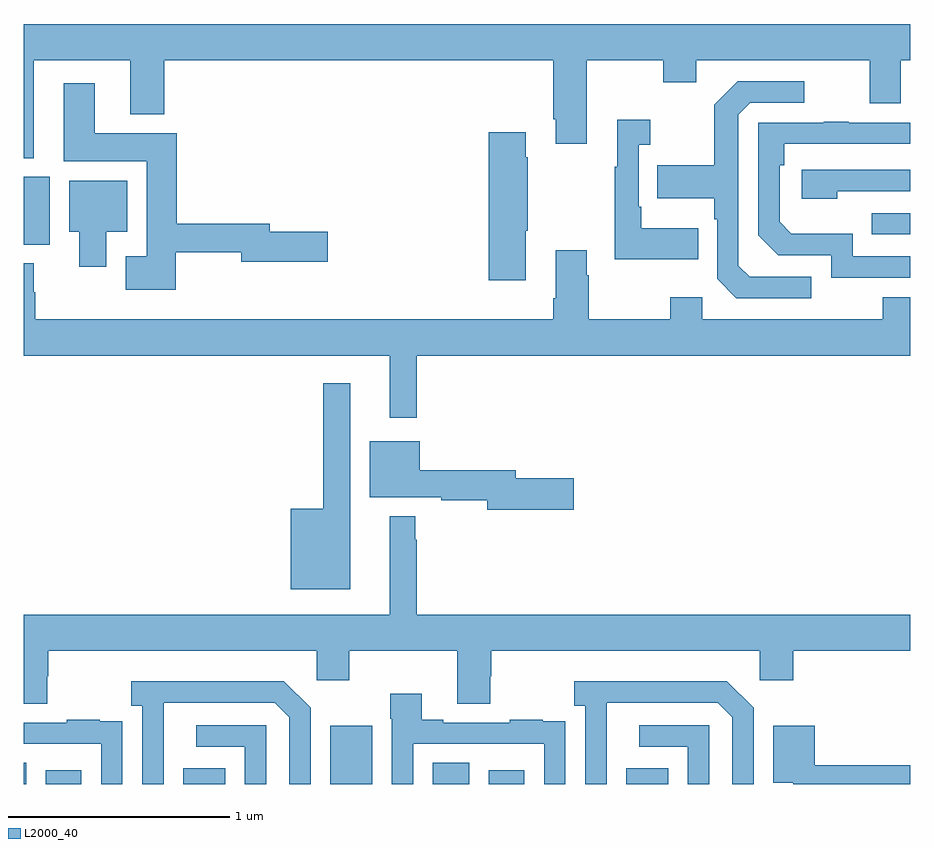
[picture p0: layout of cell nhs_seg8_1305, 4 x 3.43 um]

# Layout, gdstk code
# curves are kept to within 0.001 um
import gdstk
lib = gdstk.Library(unit=1e-6, precision=1e-09)
def R(c, l, rs):  # rectangles x0, y0, x1, y1
    for r in rs: c.add(gdstk.rectangle(r[:2], r[2:], *l))
def P(c, l, *ps):  # polygons
    for p in ps: c.add(gdstk.Polygon(p, *l))
L2000_40 = (2000, 40)

nhs_seg8_1305 = lib.new_cell('nhs_seg8_1305')
R(nhs_seg8_1305, L2000_40, [(193,1115.9,193.012,1115.996), (193.1,1115.9,193.261,1115.962), (193.721,1115.9,193.909,1115.971), (194.384,1115.9,194.572,1116.163), (194.846,1115.9,195.01,1115.996), (195.098,1115.9,195.259,1115.962), (195.719,1115.9,195.907,1115.971), (193,1118.333,193.117,1118.638), (196.825,1118.379,197,1118.475)])
P(nhs_seg8_1305, L2000_40, [(193.045,1119.164),(193.481,1119.164),(193.481,1118.921),(193.634,1118.921),(193.634,1119.164),(195.389,1119.164),(195.389,1118.899),(195.401,1118.899),(195.401,1118.787),(195.541,1118.787),(195.541,1119.164),(195.886,1119.164),(195.886,1119.065),(196.033,1119.065),(196.033,1119.164),(196.817,1119.164),(196.817,1118.97),(196.957,1118.97),(196.957,1119.164),(197,1119.164),(197,1119.328),(193,1119.328),(193,1118.723),(193.045,1118.723)],
  [(196.552,1118.187),(196.275,1118.187),(196.224,1118.238),(196.224,1118.919),(196.278,1118.973),(196.522,1118.973),(196.522,1119.069),(196.221,1119.069),(196.116,1118.963),(196.116,1118.691),(195.859,1118.691),(195.859,1118.543),(196.116,1118.543),(196.116,1118.447),(196.128,1118.447),(196.128,1118.178),(196.215,1118.091),(196.552,1118.091)],
  [(193.686,1118.298),(193.982,1118.298),(193.982,1118.255),(194.371,1118.255),(194.371,1118.39),(194.11,1118.39),(194.11,1118.426),(193.691,1118.426),(193.691,1118.836),(193.321,1118.836),(193.321,1119.061),(193.181,1119.061),(193.181,1118.708),(193.556,1118.708),(193.556,1118.281),(193.461,1118.281),(193.461,1118.129),(193.686,1118.129)],
  [(196.043,1118.407),(195.787,1118.407),(195.787,1118.503),(195.774,1118.503),(195.774,1118.783),(195.826,1118.783),(195.826,1118.896),(195.677,1118.896),(195.677,1118.683),(195.666,1118.683),(195.666,1118.267),(196.043,1118.267)],
  [(197,1118.28),(196.74,1118.28),(196.74,1118.383),(196.463,1118.383),(196.41,1118.436),(196.41,1118.69),(196.43,1118.69),(196.43,1118.787),(197,1118.787),(197,1118.883),(196.721,1118.883),(196.721,1118.888),(196.609,1118.888),(196.609,1118.883),(196.314,1118.883),(196.314,1118.376),(196.404,1118.286),(196.644,1118.286),(196.644,1118.184),(197,1118.184)],
  [(195.265,1118.395),(195.273,1118.395),(195.273,1118.726),(195.265,1118.726),(195.265,1118.839),(195.098,1118.839),(195.098,1118.172),(195.265,1118.172)],
  [(196.67,1118.574),(197,1118.574),(197,1118.67),(196.509,1118.67),(196.509,1118.54),(196.67,1118.54)],
  [(193.372,1118.39),(193.468,1118.39),(193.468,1118.62),(193.205,1118.62),(193.205,1118.39),(193.25,1118.39),(193.25,1118.232),(193.372,1118.232)],
  [(194.773,1117.832),(197,1117.832),(197,1118.095),(196.876,1118.095),(196.876,1117.996),(196.062,1117.996),(196.062,1118.095),(195.916,1118.095),(195.916,1117.996),(195.549,1117.996),(195.549,1118.195),(195.541,1118.195),(195.541,1118.308),(195.401,1118.308),(195.401,1118.092),(195.389,1118.092),(195.389,1117.996),(193.053,1117.996),(193.053,1118.117),(193.045,1118.117),(193.045,1118.248),(193,1118.248),(193,1117.832),(194.651,1117.832),(194.651,1117.551),(194.773,1117.551)],
  [(194.473,1117.708),(194.352,1117.708),(194.352,1117.141),(194.204,1117.141),(194.204,1116.779),(194.473,1116.779)],
  [(195.481,1117.28),(195.22,1117.28),(195.22,1117.316),(194.788,1117.316),(194.788,1117.447),(194.561,1117.447),(194.561,1117.193),(194.884,1117.193),(194.884,1117.18),(195.092,1117.18),(195.092,1117.138),(195.481,1117.138)],
  [(193.107,1116.387),(193.112,1116.387),(193.112,1116.5),(194.322,1116.5),(194.322,1116.369),(194.469,1116.369),(194.469,1116.5),(194.957,1116.5),(194.957,1116.262),(195.105,1116.262),(195.105,1116.387),(195.11,1116.387),(195.11,1116.5),(196.32,1116.5),(196.32,1116.369),(196.472,1116.369),(196.472,1116.5),(197,1116.5),(197,1116.664),(194.773,1116.664),(194.773,1117.001),(194.766,1117.001),(194.766,1117.108),(194.651,1117.108),(194.651,1116.664),(193,1116.664),(193,1116.262),(193.107,1116.262)],
  [(193.632,1116.067),(193.633,1116.267),(194.133,1116.267),(194.199,1116.201),(194.199,1115.9),(194.295,1115.9),(194.295,1116.243),(194.174,1116.364),(193.485,1116.364),(193.485,1116.254),(193.536,1116.254),(193.536,1115.9),(193.632,1115.9)],
  [(195.63,1116.067),(195.631,1116.267),(196.131,1116.267),(196.197,1116.201),(196.197,1115.9),(196.293,1115.9),(196.293,1116.243),(196.172,1116.364),(195.483,1116.364),(195.483,1116.254),(195.534,1116.254),(195.534,1115.9),(195.63,1115.9)],
  [(194.757,1116.081),(195.348,1116.081),(195.348,1115.9),(195.444,1115.9),(195.444,1116.074),(195.443,1116.074),(195.443,1116.183),(195.341,1116.183),(195.341,1116.19),(195.193,1116.19),(195.193,1116.177),(194.893,1116.177),(194.893,1116.19),(194.797,1116.19),(194.797,1116.307),(194.653,1116.307),(194.653,1116.194),(194.661,1116.194),(194.661,1115.9),(194.757,1115.9)],
  [(193.446,1116.074),(193.445,1116.074),(193.445,1116.183),(193.343,1116.183),(193.343,1116.19),(193.195,1116.19),(193.195,1116.177),(193,1116.177),(193,1116.081),(193.35,1116.081),(193.35,1115.9),(193.446,1115.9)],
  [(194.094,1116.165),(193.779,1116.165),(193.779,1116.069),(193.998,1116.069),(193.998,1115.9),(194.094,1115.9)],
  [(196.092,1116.165),(195.777,1116.165),(195.777,1116.069),(195.996,1116.069),(195.996,1115.9),(196.092,1115.9)],
  [(197,1115.984),(196.569,1115.984),(196.569,1116.163),(196.382,1116.163),(196.382,1115.906),(196.472,1115.906),(196.472,1115.9),(197,1115.9)])

lib.write_gds('nhs_seg8_1305.gds')
